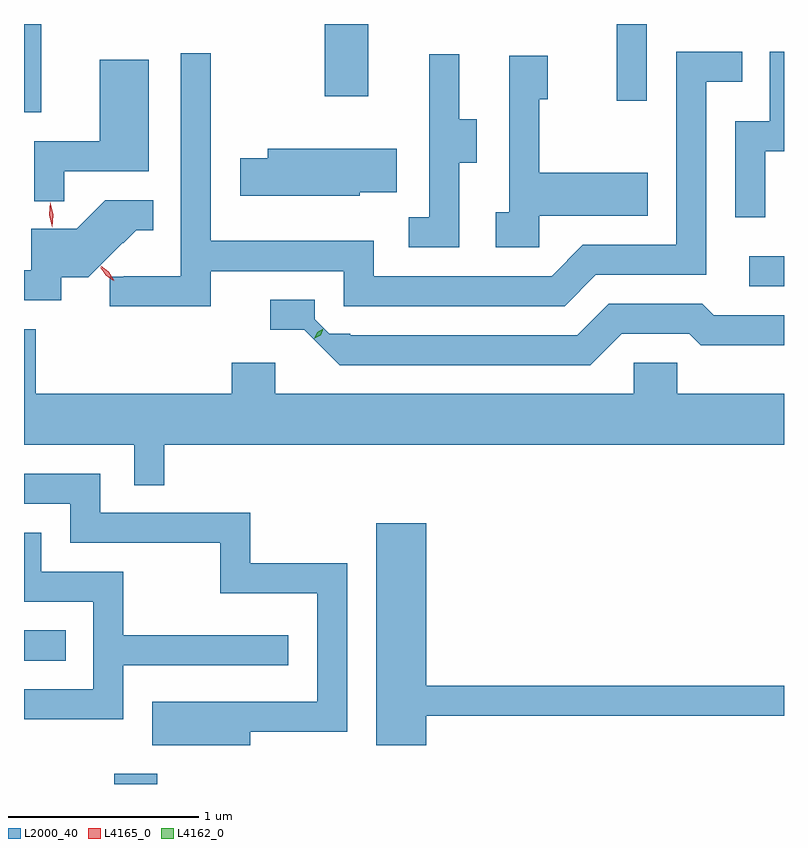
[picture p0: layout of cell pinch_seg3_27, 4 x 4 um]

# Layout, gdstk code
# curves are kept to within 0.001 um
import gdstk
lib = gdstk.Library(unit=1e-6, precision=1e-09)
def R(c, l, rs):  # rectangles x0, y0, x1, y1
    for r in rs: c.add(gdstk.rectangle(r[:2], r[2:], *l))
def P(c, l, *ps):  # polygons
    for p in ps: c.add(gdstk.Polygon(p, *l))
L2000_40 = (2000, 40)
L4162_0 = (4162, 0)
L4165_0 = (4165, 0)

pinch_seg3_27 = lib.new_cell('pinch_seg3_27')
R(pinch_seg3_27, L2000_40, [(1879.601,1161.971,1879.829,1162.024), (1879.127,1162.621,1879.348,1162.779), (1882.943,1164.591,1883.127,1164.749), (1879.127,1165.506,1879.219,1165.971), (1882.246,1165.568,1882.404,1165.971), (1880.711,1165.591,1880.939,1165.971)])
P(pinch_seg3_27, L2000_40, [(1883.029,1165.301),(1883.127,1165.301),(1883.127,1165.824),(1883.051,1165.824),(1883.051,1165.459),(1882.871,1165.459),(1882.871,1164.953),(1883.029,1164.953)],
  [(1880.109,1164.671),(1880.811,1164.671),(1880.811,1164.486),(1881.972,1164.486),(1882.137,1164.651),(1882.719,1164.651),(1882.719,1165.666),(1882.908,1165.666),(1882.908,1165.824),(1882.561,1165.824),(1882.561,1164.809),(1882.069,1164.809),(1881.904,1164.644),(1880.969,1164.644),(1880.969,1164.829),(1880.109,1164.829),(1880.109,1165.818),(1879.951,1165.818),(1879.951,1164.644),(1879.652,1164.644),(1879.652,1164.64),(1879.577,1164.64),(1879.577,1164.486),(1880.109,1164.486)],
  [(1881.419,1165.241),(1881.509,1165.241),(1881.509,1165.469),(1881.419,1165.469),(1881.419,1165.813),(1881.261,1165.813),(1881.261,1164.954),(1881.153,1164.954),(1881.153,1164.796),(1881.419,1164.796)],
  [(1881.839,1164.961),(1882.409,1164.961),(1882.409,1165.189),(1881.839,1165.189),(1881.839,1165.576),(1881.884,1165.576),(1881.884,1165.804),(1881.681,1165.804),(1881.681,1164.979),(1881.611,1164.979),(1881.611,1164.796),(1881.839,1164.796)],
  [(1879.339,1165.196),(1879.784,1165.196),(1879.784,1165.784),(1879.526,1165.784),(1879.526,1165.354),(1879.181,1165.354),(1879.181,1165.038),(1879.339,1165.038)],
  [(1880.894,1165.086),(1881.089,1165.086),(1881.089,1165.314),(1880.411,1165.314),(1880.411,1165.264),(1880.266,1165.264),(1880.266,1165.066),(1880.894,1165.066)],
  [(1879.324,1164.639),(1879.466,1164.639),(1879.646,1164.819),(1879.649,1164.817),(1879.719,1164.886),(1879.808,1164.886),(1879.808,1165.044),(1879.554,1165.044),(1879.404,1164.894),(1879.166,1164.894),(1879.166,1164.674),(1879.127,1164.674),(1879.127,1164.516),(1879.324,1164.516)],
  [(1882.272,1164.341),(1882.629,1164.341),(1882.689,1164.281),(1883.127,1164.281),(1883.127,1164.439),(1882.757,1164.439),(1882.697,1164.499),(1882.204,1164.499),(1882.039,1164.334),(1880.845,1164.334),(1880.845,1164.341),(1880.734,1164.341),(1880.658,1164.417),(1880.658,1164.519),(1880.423,1164.519),(1880.423,1164.362),(1880.601,1164.362),(1880.789,1164.176),(1882.107,1164.176)],
  [(1879.864,1163.756),(1883.127,1163.756),(1883.127,1164.024),(1882.564,1164.024),(1882.564,1164.189),(1882.336,1164.189),(1882.336,1164.024),(1880.449,1164.024),(1880.449,1164.189),(1880.221,1164.189),(1880.221,1164.024),(1879.189,1164.024),(1879.189,1164.364),(1879.127,1164.364),(1879.127,1163.756),(1879.706,1163.756),(1879.706,1163.543),(1879.864,1163.543)],
  [(1880.319,1162.246),(1880.829,1162.246),(1880.829,1163.134),(1880.319,1163.134),(1880.319,1163.399),(1879.529,1163.399),(1879.529,1163.604),(1879.127,1163.604),(1879.127,1163.446),(1879.371,1163.446),(1879.371,1163.241),(1880.161,1163.241),(1880.161,1162.976),(1880.671,1162.976),(1880.671,1162.404),(1879.801,1162.404),(1879.801,1162.176),(1880.319,1162.176)],
  [(1881.244,1162.331),(1883.127,1162.331),(1883.127,1162.489),(1881.244,1162.489),(1881.244,1163.344),(1880.981,1163.344),(1880.981,1162.176),(1881.244,1162.176)],
  [(1879.649,1162.596),(1880.518,1162.596),(1880.518,1162.754),(1879.649,1162.754),(1879.649,1163.089),(1879.219,1163.089),(1879.219,1163.294),(1879.127,1163.294),(1879.127,1162.931),(1879.491,1162.931),(1879.491,1162.469),(1879.127,1162.469),(1879.127,1162.311),(1879.649,1162.311)])
P(pinch_seg3_27, L4162_0, [(1880.654,1164.315),(1880.654,1164.316),(1880.671,1164.349),(1880.702,1164.368),(1880.703,1164.368),(1880.703,1164.368),(1880.686,1164.335),(1880.654,1164.315)],
  [(1880.662,1164.319),(1880.662,1164.32),(1880.674,1164.346),(1880.699,1164.36),(1880.7,1164.36),(1880.7,1164.36),(1880.688,1164.333),(1880.663,1164.319)])
P(pinch_seg3_27, L4165_0, [(1879.602,1164.62),(1879.559,1164.652),(1879.53,1164.698),(1879.53,1164.698),(1879.531,1164.698),(1879.574,1164.666),(1879.603,1164.621),(1879.603,1164.62)],
  [(1879.275,1164.901),(1879.261,1164.966),(1879.265,1165.033),(1879.265,1165.034),(1879.266,1165.033),(1879.28,1164.968),(1879.276,1164.901),(1879.276,1164.901)],
  [(1879.598,1164.62),(1879.556,1164.649),(1879.527,1164.691),(1879.527,1164.692),(1879.528,1164.692),(1879.57,1164.663),(1879.598,1164.621),(1879.598,1164.62)])

lib.write_gds('pinch_seg3_27.gds')
